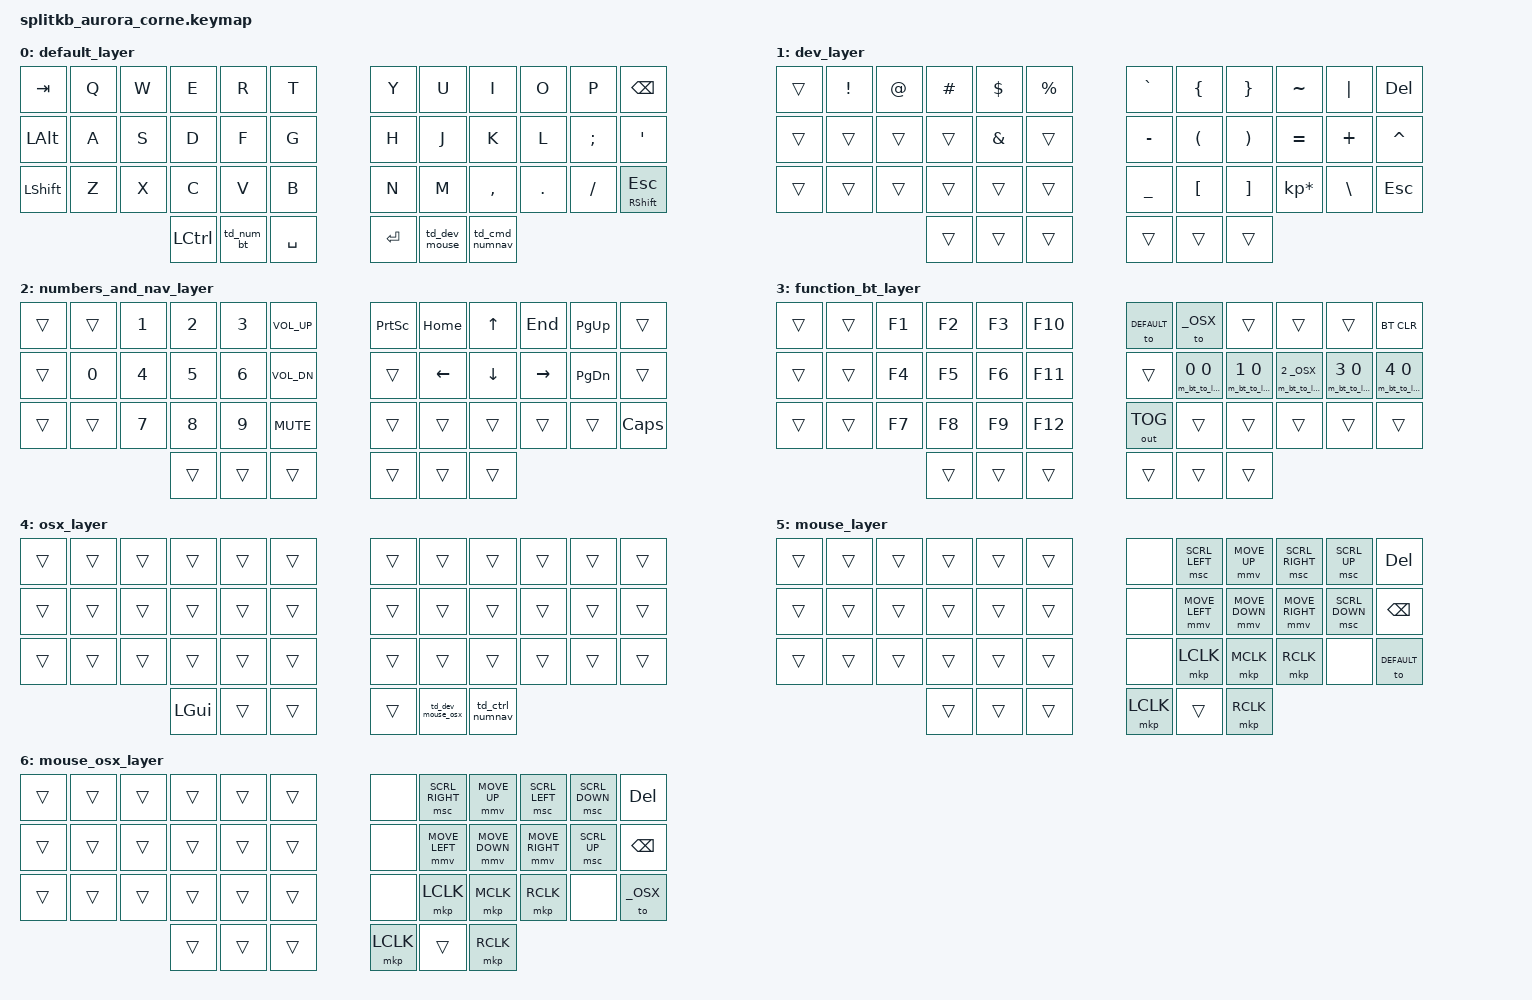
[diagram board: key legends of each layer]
/*
 * Copyright (c) 2020 The ZMK Contributors
 *
 * SPDX-License-Identifier: MIT
 */

#include <behaviors.dtsi>
#include <dt-bindings/zmk/keys.h>
#include <dt-bindings/zmk/bt.h>
#include <dt-bindings/zmk/outputs.h>
#include <dt-bindings/zmk/behaviors.h>

// Mouse speed configuration
#define ZMK_POINTING_DEFAULT_MOVE_VAL 2500  // default: 600
#define ZMK_POINTING_DEFAULT_SCRL_VAL 20    // default: 10
#include <dt-bindings/zmk/pointing.h>

// Mouse movement acceleration off
&mmv {
    x-input-code = <INPUT_REL_X>;
    y-input-code = <INPUT_REL_Y>;
    time-to-max-speed-ms = <300>;
    acceleration-exponent = <1>;
    delay-ms = <0>;
};

// Mouse scrolling acceleration off
&msc {
    x-input-code = <INPUT_REL_HWHEEL>;
    y-input-code = <INPUT_REL_WHEEL>;
    time-to-max-speed-ms = <0>;
    acceleration-exponent = <0>;
    delay-ms = <0>;
};

// Layer ref
#define _DEFAULT    0
#define _DEV        1
#define _NUM_NAV    2
#define _FUN_BT     3
#define _OSX        4
#define _MOUSE      5
#define _MOUSE_OSX  6

/ {
   behaviors {
        td_cmd_numnav: td_cmd_numnav {
            compatible = "zmk,behavior-tap-dance";
            #binding-cells = <0>;
            tapping-term-ms = <200>;
            bindings = <&kp LCMD>, <&mo _NUM_NAV>;
        };
        td_ctrl_numnav: td_ctrl_numnav {
            compatible = "zmk,behavior-tap-dance";
            #binding-cells = <0>;
            tapping-term-ms = <200>;
            bindings = <&kp LCTRL>, <&mo _NUM_NAV>;
        };

        td_dev_mouse: td_dev_mouse {
            compatible = "zmk,behavior-tap-dance";
            #binding-cells = <0>;
            tapping-term-ms = <200>;
            bindings = <&mo _DEV>, <&mo _MOUSE>, <&to _MOUSE>;
        };
        td_dev_mouse_osx: td_dev_mouse_osx {
            compatible = "zmk,behavior-tap-dance";
            #binding-cells = <0>;
            tapping-term-ms = <200>;
            bindings = <&mo _DEV>, <&mo _MOUSE_OSX>, <&to _MOUSE_OSX>;
        };

        td_num_bt: td_num_bt {
            compatible = "zmk,behavior-tap-dance";
            #binding-cells = <0>;
            tapping-term-ms = <200>;
            bindings = <&mo _NUM_NAV>, <&mo _NUM_NAV>, <&mo _FUN_BT>;
        };
    };
    
    macros {
        m_bt_to_layer: macro_bind_bt_to_layer {
            // Takes two parameters and switches to a BT channel (1) and a layer (2).
            // eg. `&bt_to_layer 3 0` switches to BT channel 3 and the default layer.
            compatible = "zmk,behavior-macro-two-param";
            #binding-cells = <2>;
            bindings
                = <&macro_param_1to1>
                , <&bt BT_SEL MACRO_PLACEHOLDER>
                , <&macro_param_2to1>
                , <&to MACRO_PLACEHOLDER>
            ;
        };
    };
    
    keymap {
        compatible = "zmk,keymap";

        default_layer {
            // ████████████████████████████████████████████████████████████████████████████████████████
            // █| TAB |  Q  |  W  |  E  |  R  |  T    |███|  Y  |  U  |  I  |  O  |  P  |BSPC        |█
            // █|LALT |  A  |  S  |  D  |  F  |  G    |███|  H  |  J  |  K  |  L  |  ;: | '"         |█
            // █|LSHFT|  Z  |  X  |  C  |  V  |  B    |███|  N  |  M  |  ,< |  .> |  /? | ESC/RSHIFT |█
            // ███████████████████|LCTRL|L_NUM| SPACE |███| RET | L_DEV/L_MOUSE| CMD/L_NUM |███████████
            // ████████████████████████████████████████████████████████████████████████████████████████
            bindings = <
            &kp TAB     &kp Q   &kp W   &kp E       &kp R           &kp T           &kp Y   &kp U       &kp I       &kp O   &kp P       &kp BSPC
            &kp LALT    &kp A   &kp S   &kp D       &kp F           &kp G           &kp H   &kp J       &kp K       &kp L   &kp SEMI    &kp SQT
            &kp LSHFT   &kp Z   &kp X   &kp C       &kp V           &kp B           &kp N   &kp M       &kp COMMA   &kp DOT &kp FSLH    &mt RSHIFT ESC
                                        &kp LCTRL   &td_num_bt      &kp SPACE       &kp RET &td_dev_mouse  &td_cmd_numnav
            >;
        };
        
        // _DEV
        dev_layer {
            // █████████████████████████████████████████████████████████████████████████████████
            // █|     |  !  |  @  |  #  |  $  |  %  |███|  `  |  {  |  }  |  ~  | '|' | DEL   |█
            // █|     |     |     |     |  &  |     |███|  -  |  (  |  )  |  =  |  +  |  ^    |█
            // █|     |     |     |     |     |     |███|  _  |  [  |  ]  |  *  |  \  | ESC   |█
            // ███████████████████|     |L_FUN|     |███|     |     |     |█████████████████████
            // █████████████████████████████████████████████████████████████████████████████████
            bindings = <
            &trans  &kp EXCL    &kp AT  &kp HASH    &kp DLLR    &kp PRCNT       &kp GRAVE   &kp LBRC    &kp RBRC    &kp TILDE       &kp PIPE    &kp DEL
            &trans  &trans      &trans  &trans      &kp AMPS    &trans          &kp MINUS   &kp LPAR    &kp RPAR    &kp EQUAL       &kp PLUS    &kp CARET
            &trans  &trans      &trans  &trans      &trans      &trans          &kp UNDER   &kp LBKT    &kp RBKT    &kp KP_MULTIPLY &kp BSLH    &kp ESC
                                        &trans      &trans      &trans          &trans      &trans      &trans 
                             
            >;
        };

        // _NUM_NAV
        numbers_and_nav_layer {
            // ███████████████████████████████████████████████████████████████████████████████████
            // █|      |     |  1  |  2  |  3  |C_VOL_UP|███|PSCRN|HOME | UP  | END |PG_UP|     |█
            // █|      |  0  |  4  |  5  |  6  |C_VOL_DN|███|     |LEFT |DOWN |RIGHT|PG_DN|     |█
            // █|      |     |  7  |  8  |  9  |C_MUTE  |███|     |     |     |     |     | CAPS|█
            // ████████████████████|     |     |        |███|     |L_FUN|     |███████████████████
            // ███████████████████████████████████████████████████████████████████████████████████
            bindings = <
            &trans  &trans  &kp N1  &kp N2  &kp N3  &kp C_VOL_UP        &kp PSCRN   &kp HOME    &kp UP      &kp END     &kp PG_UP   &trans
            &trans  &kp N0  &kp N4  &kp N5  &kp N6  &kp C_VOL_DN        &trans      &kp LEFT    &kp DOWN    &kp RIGHT   &kp PG_DN   &trans
            &trans  &trans  &kp N7  &kp N8  &kp N9  &kp C_MUTE          &trans      &trans      &trans      &trans      &trans      &kp CAPS
                                          &trans  &trans  &trans        &trans      &trans      &trans 
                             
            >;
        };

        // _FUN_BT
        function_bt_layer {
            // ██████████████████████████████████████████████████████████████████████████████████████
            // █|     |     | F1  | F2  | F3  | F10 |███|L_DEFAULT|L_OSX|     |         |     |BT_CLR|█
            // █|     |     | F4  | F5  | F6  | F11 |███|         | BT0 | BT1 | BT2_OSX | BT3 | BT4  |█
            // █|     |     | F7  | F8  | F9  | F12 |███|OUT_TOG  |     |     |         |     |      |█
            // ███████████████████|     |     |     |███|         |     |     |████████████████████████
            // ██████████████████████████████████████████████████████████████████████████████████████
            bindings = <
            &trans  &trans  &kp F1  &kp F2  &kp F3  &kp F10     &to _DEFAULT &to _OSX            &trans              &trans                 &trans              &bt BT_CLR
            &trans  &trans  &kp F4  &kp F5  &kp F6  &kp F11     &trans       &m_bt_to_layer 0 0  &m_bt_to_layer 1 0  &m_bt_to_layer 2 _OSX  &m_bt_to_layer 3 0  &m_bt_to_layer 4 0  
            &trans  &trans  &kp F7  &kp F8  &kp F9  &kp F12     &out OUT_TOG &trans              &trans              &trans                 &trans              &trans
                                    &trans  &trans  &trans      &trans       &trans              &trans
            >;
        };

        // _OSX
        osx_layer {
            // ██████████████████████████████████████████████████████████████████████████████████
            // █|     |     |     |     |     |     |███|     |     |     |     |     |     |████
            // █|     |     |     |     |     |     |███|     |     |     |     |     |     |████
            // █|     |     |     |     |     |     |███|     |     |     |     |     |     |████
            // ███████████████████|LGUI |     |     |███|     | L_DEV/L_MOUSE_OSX |LCTRL/L_NUM |█
            // ██████████████████████████████████████████████████████████████████████████████████
            bindings = <
            &trans  &trans  &trans  &trans  &trans  &trans      &trans  &trans  &trans  &trans  &trans  &trans
            &trans  &trans  &trans  &trans  &trans  &trans      &trans  &trans  &trans  &trans  &trans  &trans
            &trans  &trans  &trans  &trans  &trans  &trans      &trans  &trans  &trans  &trans  &trans  &trans
                                    &kp LGUI  &trans  &trans    &trans  &td_dev_mouse_osx  &td_ctrl_numnav 
                             
            >;
        };

        // _MOUSE
        mouse_layer {
            // █████████████████████████████████████████████████████████████████████████████████████████████████████████████████████
            // █|     |     |     |     |     |     |███|     | SCROLL_LEFT | MOVE_UP      | SCROLL_RIGHT | SCROLL_UP   |  DEL    |█
            // █|     |     |     |     |     |     |███|     | MOVE_LEFT   | MOVE_DOWN    | MOVE_RIGHT   | SCROLL_DOWN |  BSPC   |█
            // █|     |     |     |     |     |     |███|     | LEFT_CLICK  | MIDDLE_CLICK | RIGHT_CLICK  |             |L_DEFAULT|█
            // ███████████████████|     |     |     |███|LEFT_CLICK|     |RIGHT_CLICK|██████████████████████████████████████████████
            // █████████████████████████████████████████████████████████████████████████████████████████████████████████████████████
            bindings = <
            &trans  &trans  &trans  &trans  &trans  &trans      &none  &msc SCRL_LEFT &mmv MOVE_UP    &msc SCRL_RIGHT &msc SCRL_UP    &kp DEL
            &trans  &trans  &trans  &trans  &trans  &trans      &none  &mmv MOVE_LEFT &mmv MOVE_DOWN  &mmv MOVE_RIGHT &msc SCRL_DOWN  &kp BSPC
            &trans  &trans  &trans  &trans  &trans  &trans      &none  &mkp LCLK      &mkp MCLK       &mkp RCLK       &none           &to _DEFAULT
                                    &trans  &trans  &trans      &mkp LCLK &trans  &mkp RCLK 
            >;
        };

        // _MOUSE_OSX
        mouse_osx_layer {
            // █████████████████████████████████████████████████████████████████████████████████████████████████████████████████████
            // █|     |     |     |     |     |     |███|     | SCRL_LEFT  | MOVE_UP      | SCRL_RIGHT    | SCROLL_DOWN |  DEL    |█
            // █|     |     |     |     |     |     |███|     | MOVE_LEFT   | MOVE_DOWN    | MOVE_RIGHT   | SCROLL_UP   |  BSPC   |█
            // █|     |     |     |     |     |     |███|     | LEFT_CLICK  | MIDDLE_CLICK | RIGHT_CLICK  |             | L_OSX   |█
            // ███████████████████|     |     |     |███|LEFT_CLICK|     |RIGHT_CLICK|██████████████████████████████████████████████
            // █████████████████████████████████████████████████████████████████████████████████████████████████████████████████████
            bindings = <
            &trans  &trans  &trans  &trans  &trans  &trans      &none  &msc SCRL_RIGHT  &mmv MOVE_UP    &msc SCRL_LEFT &msc SCRL_DOWN  &kp DEL
            &trans  &trans  &trans  &trans  &trans  &trans      &none  &mmv MOVE_LEFT  &mmv MOVE_DOWN  &mmv MOVE_RIGHT &msc SCRL_UP    &kp BSPC
            &trans  &trans  &trans  &trans  &trans  &trans      &none  &mkp LCLK       &mkp MCLK       &mkp RCLK       &none           &to _OSX
                                    &trans  &trans  &trans      &mkp LCLK &trans  &mkp RCLK 
            >;
        };
        // BLANK TEMPLATE
        // XXXX_layer {
        //     // ███████████████████████████████████████████████████████████████████████████████
        //     // █|     |     |     |     |     |     |███|     |     |     |     |     |     |█
        //     // █|     |     |     |     |     |     |███|     |     |     |     |     |     |█
        //     // █|     |     |     |     |     |     |███|     |     |     |     |     |     |█
        //     // ███████████████████|     |     |     |███|     |     |     |███████████████████
        //     // ███████████████████████████████████████████████████████████████████████████████
        //     bindings = <
        //     &trans  &trans  &trans  &trans  &trans  &trans      &trans  &trans  &trans  &trans  &trans  &trans
        //     &trans  &trans  &trans  &trans  &trans  &trans      &trans  &trans  &trans  &trans  &trans  &trans
        //     &trans  &trans  &trans  &trans  &trans  &trans      &trans  &trans  &trans  &trans  &trans  &trans
        //                             &trans  &trans  &trans      &trans  &trans  &trans 
        //     >;
        // };

    };
};
